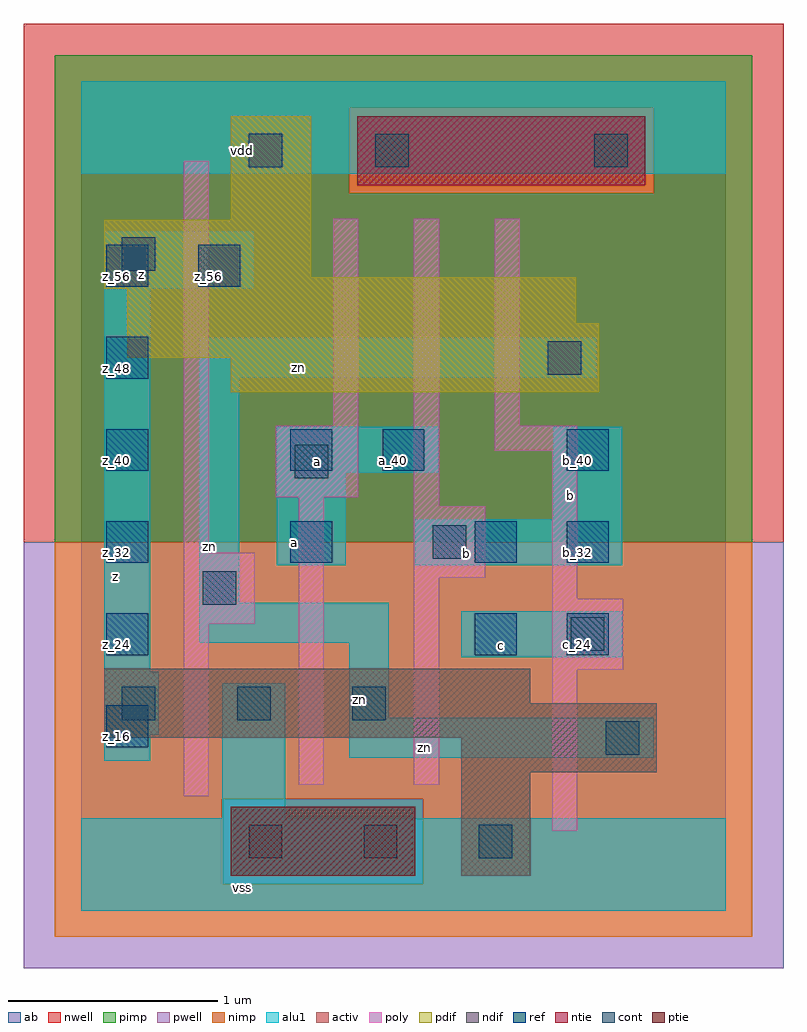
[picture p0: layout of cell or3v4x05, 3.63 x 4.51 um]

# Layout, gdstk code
import gdstk
lib = gdstk.Library(unit=1e-6, precision=2.5e-09)
def R(c, l, rs):  # rectangles x0, y0, x1, y1
    for r in rs: c.add(gdstk.rectangle(r[:2], r[2:], *l))
def A(c, l, x, y, w, h, nx, ny, dx, dy):  # array of equal rectangles
    R(c, l, [(x+i*dx, y+j*dy, x+i*dx+w, y+j*dy+h) for i in range(nx) for j in range(ny)])
ndif = (3, 0)
pdif = (4, 0)
ntie = (5, 0)
ptie = (6, 0)
ref = (24, 0)
cont = (25, 0)
pwell = (41, 0)
nwell = (42, 0)
activ = (43, 0)
pimp = (44, 0)
nimp = (45, 0)
poly = (46, 0)
alu1 = (49, 0)
ab = (63, 0)

or3v4x05 = lib.new_cell('or3v4x05')
R(or3v4x05, ndif, [(1.815,0.165,2.145,0.66), (1.815,0.66,2.75,0.825), (0.11,0.825,2.75,0.99), (0.11,0.99,2.145,1.155)])
R(or3v4x05, pdif, [(0.715,2.475,2.475,2.64), (0.22,2.64,2.475,2.805), (0.22,2.805,2.365,2.97), (0.11,2.97,2.365,3.025), (0.11,3.025,1.1,3.3), (0.715,3.3,1.1,3.795)])
R(or3v4x05, ntie, [(1.32,3.465,2.695,3.795)])
R(or3v4x05, ptie, [(0.715,0.165,1.595,0.495)])
A(or3v4x05, ref, 2.32, 1.22, 0.2, 0.2, 1, 3, 0, 0.44)
A(or3v4x05, ref, 0.12, 1.66, 0.2, 0.2, 3, 1, 0.88, 0)
A(or3v4x05, ref, 0.12, 2.1, 0.2, 0.2, 1, 3, 0, 0.44)
R(or3v4x05, ref, [(0.12,0.78,0.32,0.98), (0.12,1.22,0.32,1.42), (1.88,1.22,2.08,1.42), (1,2.1,1.2,2.3), (1.44,2.1,1.64,2.3), (0.56,2.98,0.76,3.18)])
A(or3v4x05, cont, 0.8, 0.25, 0.16, 0.16, 3, 1, 0.55, 0)
A(or3v4x05, cont, 0.195, 0.91, 0.16, 0.16, 3, 1, 0.55, 0)
R(or3v4x05, cont, [(2.505,0.745,2.665,0.905), (2.34,1.24,2.5,1.4), (0.58,1.46,0.74,1.62), (1.68,1.68,1.84,1.84), (1.02,2.065,1.18,2.225), (2.23,2.56,2.39,2.72), (0.195,3.055,0.355,3.215), (0.8,3.55,0.96,3.71), (1.405,3.55,1.565,3.71), (2.45,3.55,2.61,3.71)])
R(or3v4x05, pwell, [(-0.275,-0.275,3.355,1.76)])
R(or3v4x05, nwell, [(-0.275,1.76,3.355,4.235)])
R(or3v4x05, activ, [(0.715,0.165,1.595,0.495), (1.815,0.165,2.145,0.66), (1.815,0.66,2.75,0.825), (0.11,0.825,2.75,0.99), (0.11,0.99,2.145,1.155), (0.715,2.475,2.475,2.64), (0.22,2.64,2.475,2.805), (0.22,2.805,2.365,2.97), (0.11,2.97,2.365,3.025), (0.11,3.025,1.1,3.3), (0.715,3.3,1.1,3.795), (1.32,3.465,2.695,3.795)])
R(or3v4x05, pimp, [(0.675,0.125,1.635,0.535), (-0.125,1.76,3.205,3.425), (-0.125,3.425,1.28,3.835), (2.735,3.425,3.205,3.835), (-0.125,3.835,3.205,4.085)])
R(or3v4x05, nimp, [(-0.125,-0.125,3.205,0.125), (-0.125,0.125,0.675,0.535), (1.635,0.125,3.205,0.535), (-0.125,0.535,3.205,1.76), (1.28,3.425,2.735,3.835)])
R(or3v4x05, poly, [(2.25,0.38,2.37,1.15), (0.49,0.545,0.61,1.37), (1.04,0.6,1.16,1.975), (1.59,0.6,1.71,1.59), (2.25,1.15,2.59,1.49), (0.49,1.37,0.83,1.71), (2.25,1.49,2.37,2.195), (1.59,1.59,1.93,1.93), (0.49,1.71,0.61,3.58), (1.59,1.93,1.71,3.305), (0.93,1.975,1.325,2.315), (1.975,2.195,2.37,2.315), (1.205,2.315,1.325,3.305), (1.975,2.315,2.095,3.305)])
R(or3v4x05, alu1, [(0,0,3.08,0.44), (0.675,0.44,0.975,1.085), (0.11,0.715,0.33,0.84), (1.28,0.73,2.735,0.92), (0.11,0.84,0.37,1.14), (1.28,0.92,1.47,1.28), (0.11,1.14,0.33,2.97), (1.815,1.21,2.585,1.43), (0.565,1.28,1.47,1.47), (0.565,1.47,0.755,2.545), (0.935,1.65,1.265,2.09), (1.595,1.65,2.585,1.87), (2.255,1.87,2.585,2.31), (0.935,2.09,1.705,2.31), (0.565,2.545,2.46,2.735), (0.11,2.97,0.825,3.245), (0,3.52,3.08,3.96)])
R(or3v4x05, ab, [(0,0,3.08,3.96)])
or3v4x05.add(gdstk.Label('vss', (0.77,0.11), layer=49, texttype=0))
or3v4x05.add(gdstk.Label('zn', (1.6425,0.7775), layer=49, texttype=0))
or3v4x05.add(gdstk.Label('c', (2.0075,1.265), layer=49, texttype=0))
or3v4x05.add(gdstk.Label('zn', (1.3275,1.01), layer=49, texttype=0))
or3v4x05.add(gdstk.Label('b', (1.8425,1.705), layer=49, texttype=0))
or3v4x05.add(gdstk.Label('b', (2.3375,1.98), layer=49, texttype=0))
or3v4x05.add(gdstk.Label('a', (1.0175,1.76), layer=49, texttype=0))
or3v4x05.add(gdstk.Label('a', (1.1275,2.145), layer=49, texttype=0))
or3v4x05.add(gdstk.Label('zn', (0.6125,1.7375), layer=49, texttype=0))
or3v4x05.add(gdstk.Label('zn', (1.0375,2.5925), layer=49, texttype=0))
or3v4x05.add(gdstk.Label('z', (0.165,1.5975), layer=49, texttype=0))
or3v4x05.add(gdstk.Label('z', (0.2875,3.0375), layer=49, texttype=0))
or3v4x05.add(gdstk.Label('vdd', (0.77,3.63), layer=49, texttype=0))
or3v4x05.add(gdstk.Label('z_56', (0.61,3.03), layer=24, texttype=0))
or3v4x05.add(gdstk.Label('a_32', (1.05,1.71), layer=24, texttype=0))
or3v4x05.add(gdstk.Label('a_40', (1.05,2.15), layer=24, texttype=0))
or3v4x05.add(gdstk.Label('a_40', (1.49,2.15), layer=24, texttype=0))
or3v4x05.add(gdstk.Label('c_24', (1.93,1.27), layer=24, texttype=0))
or3v4x05.add(gdstk.Label('b_32', (1.93,1.71), layer=24, texttype=0))
or3v4x05.add(gdstk.Label('z_16', (0.17,0.83), layer=24, texttype=0))
or3v4x05.add(gdstk.Label('z_24', (0.17,1.27), layer=24, texttype=0))
or3v4x05.add(gdstk.Label('z_32', (0.17,1.71), layer=24, texttype=0))
or3v4x05.add(gdstk.Label('z_40', (0.17,2.15), layer=24, texttype=0))
or3v4x05.add(gdstk.Label('z_48', (0.17,2.59), layer=24, texttype=0))
or3v4x05.add(gdstk.Label('z_56', (0.17,3.03), layer=24, texttype=0))
or3v4x05.add(gdstk.Label('c_24', (2.37,1.27), layer=24, texttype=0))
or3v4x05.add(gdstk.Label('b_32', (2.37,1.71), layer=24, texttype=0))
or3v4x05.add(gdstk.Label('b_40', (2.37,2.15), layer=24, texttype=0))

lib.write_gds('or3v4x05.gds')
